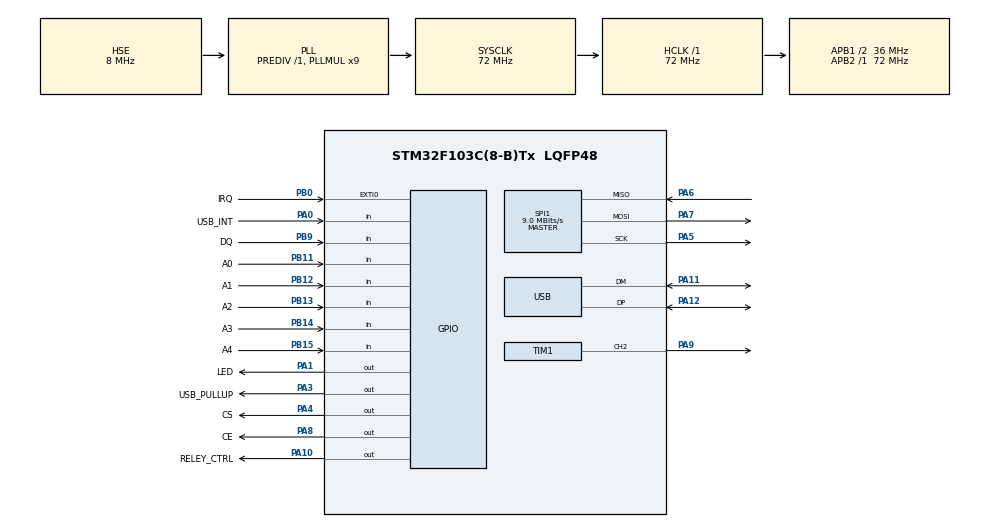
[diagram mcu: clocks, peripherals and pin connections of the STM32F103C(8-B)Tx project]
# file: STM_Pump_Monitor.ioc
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Mcu.Family=STM32F1
Mcu.Name=STM32F103C(8-B)Tx
Mcu.Package=LQFP48
NVIC.EXTI0_IRQn=true\:0\:0\:false\:false\:true\:true\:true
NVIC.PriorityGroup=NVIC_PRIORITYGROUP_4
NVIC.TIM1_CC_IRQn=true\:0\:0\:false\:false\:true\:true\:true
NVIC.TIM1_UP_IRQn=true\:0\:0\:false\:false\:true\:true\:true
NVIC.TIM4_IRQn=true\:0\:0\:false\:false\:true\:true\:true
NVIC.USB_LP_CAN1_RX0_IRQn=true\:0\:0\:false\:false\:true\:false\:true
PA0-WKUP.GPIO_Label=USB_INT
PA0-WKUP.GPIO_PuPd=GPIO_PULLDOWN
PA0-WKUP.Signal=GPIO_Input
PA1.GPIO_Label=LED
PA1.Signal=GPIO_Output
PA10.GPIO_Label=RELEY_CTRL
PA10.Signal=GPIO_Output
PA11.Mode=Device
PA11.Signal=USB_DM
PA12.Mode=Device
PA12.Signal=USB_DP
PA13.Mode=Trace_Asynchronous_SW
PA13.Signal=SYS_JTMS-SWDIO
PA14.Mode=Trace_Asynchronous_SW
PA14.Signal=SYS_JTCK-SWCLK
PA3.GPIO_Label=USB_PULLUP
PA3.Signal=GPIO_Output
PA4.GPIO_Label=CS
PA4.Signal=GPIO_Output
PA5.Mode=Full_Duplex_Master
PA5.Signal=SPI1_SCK
PA6.Mode=Full_Duplex_Master
PA6.Signal=SPI1_MISO
PA7.Mode=Full_Duplex_Master
PA7.Signal=SPI1_MOSI
PA8.GPIO_Label=CE
PA8.Signal=GPIO_Output
PA9.Signal=S_TIM1_CH2
PB0.GPIO_Label=IRQ
PB0.GPIO_ModeDefaultEXTI=GPIO_MODE_IT_FALLING
PB0.GPIO_PuPd=GPIO_PULLUP
PB0.Signal=GPXTI0
PB11.GPIO_Label=A0
PB11.Signal=GPIO_Input
PB12.GPIO_Label=A1
PB12.Signal=GPIO_Input
PB13.GPIO_Label=A2
PB13.Signal=GPIO_Input
PB14.GPIO_Label=A3
PB14.Signal=GPIO_Input
PB15.GPIO_Label=A4
PB15.Signal=GPIO_Input
PB3.Mode=Trace_Asynchronous_SW
PB3.Signal=SYS_JTDO-TRACESWO
PB9.GPIO_Label=DQ
PB9.Signal=GPIO_Input
PD0-OSC_IN.Mode=HSE-External-Oscillator
PD0-OSC_IN.Signal=RCC_OSC_IN
PD1-OSC_OUT.Mode=HSE-External-Oscillator
PD1-OSC_OUT.Signal=RCC_OSC_OUT
ProjectManager.HeapSize=0x800
ProjectManager.StackSize=0x800
ProjectManager.TargetToolchain=MDK-ARM V5
RCC.AHBFreq_Value=72000000
RCC.APB1CLKDivider=RCC_HCLK_DIV2
RCC.APB1Freq_Value=36000000
RCC.APB1TimFreq_Value=72000000
RCC.APB2Freq_Value=72000000
RCC.APB2TimFreq_Value=72000000
RCC.HCLKFreq_Value=72000000
RCC.LSE_VALUE=32000
RCC.PLLMUL=RCC_PLL_MUL9
RCC.PLLSourceVirtual=RCC_PLLSOURCE_HSE
RCC.RTCClockSelection=RCC_RTCCLKSOURCE_LSE
RCC.SYSCLKFreq_VALUE=72000000
RCC.SYSCLKSource=RCC_SYSCLKSOURCE_PLLCLK
RCC.USBFreq_Value=48000000
RCC.USBPrescaler=RCC_USBCLKSOURCE_PLL_DIV1_5
SH.S_TIM1_CH2.0=TIM1_CH2,PWM Generation2 CH2
SPI1.BaudRatePrescaler=SPI_BAUDRATEPRESCALER_8
SPI1.CalculateBaudRate=9.0 MBits/s
SPI1.Direction=SPI_DIRECTION_2LINES
SPI1.Mode=SPI_MODE_MASTER
SPI1.VirtualType=VM_MASTER
TIM1.Channel-PWM\ Generation2\ CH2=TIM_CHANNEL_2
TIM1.ClockDivision=TIM_CLOCKDIVISION_DIV1
TIM1.Period=60000
TIM1.Prescaler=0
TIM1.Pulse-PWM\ Generation2\ CH2=30000
TIM4.Period=1000
TIM4.Prescaler=719
USB_DEVICE.APP_RX_DATA_SIZE=64
USB_DEVICE.APP_TX_DATA_SIZE=64
USB_DEVICE.CLASS_NAME_FS=CDC
USB_DEVICE.PRODUCT_STRING_CDC_FS=Pump Monitor
USB_DEVICE.USBD_MAX_STR_DESC_SIZ=256
USB_DEVICE.VirtualMode=Cdc
USB_DEVICE.VirtualModeFS=Cdc_FS
VP_CRC_VS_CRC.Mode=CRC_Activate
VP_TIM1_VS_ClockSourceINT.Mode=Internal
VP_TIM4_VS_ClockSourceINT.Mode=Internal
VP_USB_DEVICE_VS_USB_DEVICE_CDC_FS.Mode=CDC_FS
board=STM_WTS

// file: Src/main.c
/* USER CODE BEGIN Header */
/**
  ******************************************************************************
  * @file           : main.c
  * @brief          : Main program body
  ******************************************************************************
  * @attention
  *
  * <h2><center>&copy; Copyright (c) 2019 STMicroelectronics.
  * All rights reserved.</center></h2>
  *
  * This software component is licensed by ST under Ultimate Liberty license
  * SLA0044, the "License"; You may not use this file except in compliance with
  * the License. You may obtain a copy of the License at:
  *                             www.st.com/SLA0044
  *
  ******************************************************************************
  */
/* USER CODE END Header */

#include "main.h"
#include "crc.h"
#include "spi.h"
#include "tim.h"
#include "usb_device.h"
#include "gpio.h"

/* USER CODE BEGIN Includes */
#include <stdio.h>

#include "usbd_cdc_if.h"
#include "uart_cmd_parser.h"
#include "nrf24.h"
#include "usbd_cdc_if.h"
#include "wireless_ctrl.h"

/* USER CODE END Includes */

/* USER CODE BEGIN PV */
/* Private variables ---------------------------------------------------------*/
uint8_t nrf_init_state=0;
uint32_t pump_on_timer=0;
uint32_t reset_timer=0;
uint16_t beep_on_timer=0;
_Bool pump_fail_f=0;
_Bool beep_f=0;
_Bool reset_f=0;

#define MAX_PUMP_ON_TIME			6000//60 sec
#define BEEP_ON_TIME					200//2 sec
#define PUMP_SHUTDOWN_TIME		30000//5 min
#define PUMP_RESET_TIME				90000//15 min

/* USER CODE END PV */

void SystemClock_Config(void);
/* USER CODE BEGIN PFP */
/* Private function prototypes -----------------------------------------------*/

/* USER CODE END PFP */

int main(void)
{

  /* MCU Configuration--------------------------------------------------------*/

  /* Reset of all peripherals, Initializes the Flash interface and the Systick. */
  HAL_Init();

  /* Configure the system clock */
  SystemClock_Config();

  /* Initialize all configured peripherals */
  MX_GPIO_Init();
  MX_SPI1_Init();
  MX_TIM1_Init();
  MX_CRC_Init();
  MX_USB_DEVICE_Init();
  MX_TIM4_Init();
  /* USER CODE BEGIN 2 */
	printf("SYS INIT\r\n");

HAL_GPIO_WritePin(RELEY_CTRL_GPIO_Port,RELEY_CTRL_Pin,GPIO_PIN_SET);//RX
HAL_GPIO_WritePin(USB_PULLUP_GPIO_Port, USB_PULLUP_Pin, GPIO_PIN_SET);
HAL_GPIO_WritePin(LED_GPIO_Port,LED_Pin,GPIO_PIN_SET);
HAL_Delay(200);
uartInit();

nrf_init_state = NRF24_Init();
HAL_Delay(200);
//putsUSART("3\r\n>");
HAL_TIM_Base_Start_IT( &htim4);
//HAL_TIM_PWM_Start_IT(&htim1,TIM_CHANNEL_2);
//putsUSART("4\r\n>");

if(nrf_init_state){
	putsUSART("NRF init FAIL\r\n>");
	printf("NRF init FAIL\r\n");
}

uint8_t cdc_init=0;
pump_on_timer=0;
if(nrf_init_state==0){
	printf("NRF CHECK ADDR\r\n");
	nrf_init_state=WL_Check_Addr(0xB0);

}
HAL_GPIO_WritePin(LED_GPIO_Port,LED_Pin,GPIO_PIN_RESET);
//HAL_TIM_PWM_Start(&htim1, TIM_CHANNEL_2);

  /* USER CODE END 2 */

  /* Infinite loop */
  /* USER CODE BEGIN WHILE */

 while (1){
//Blinking

//NRF24 init error	 -
//NRF24 addr busy		 - -
//NRF24 timeout			 - - -

		if (vcp_rx_flag) {
			if(cdc_init){
			CDC_Transmit_FS((uint8_t*)"\r\n>", 3);
			//CDC_Transmit_FS((uint8_t*)"OK\n\r", 4);
			//putsUSART("\r\nOK\n\r");
			parseCommand(vcp_rx_buf);
			}else{
				uartInit();
				cdc_init=1;
			}
			vcp_rx_flag = 0;
		}

		if(nrf_init_state){
			HAL_GPIO_WritePin(LED_GPIO_Port,LED_Pin,GPIO_PIN_RESET);
			HAL_Delay(1000);
			uint8_t i=nrf_init_state;
			while(i--){
				HAL_GPIO_TogglePin(LED_GPIO_Port,LED_Pin);
				HAL_Delay(1000);
				HAL_GPIO_TogglePin(LED_GPIO_Port,LED_Pin);
				HAL_Delay(1000);
      }
			HAL_Delay(2000);

			if(packet_handler_timer>500){// every 5 sec
				packet_handler_timer=0;
				if (nrf_init_state == 1){
					nrf_init_state = NRF24_Init();
					HAL_Delay(200);

				}
				if(nrf_init_state!=1){
						HAL_Delay(200);
						nrf_init_state = WL_Check_Addr(0xB0);
					}
				}
		}else{
			WL_Handler();
		}

		//PUMP MONITOR
		if(pump_on_timer>MAX_PUMP_ON_TIME){
			pump_fail_f=1;
			HAL_GPIO_WritePin(LED_GPIO_Port,LED_Pin,GPIO_PIN_SET);
		}else{
			pump_fail_f=0;
			HAL_GPIO_WritePin(LED_GPIO_Port,LED_Pin,GPIO_PIN_RESET);
		}

		//BEEP CTRL
		if(beep_on_timer>BEEP_ON_TIME){
			beep_f^=1;
			beep_on_timer=0;
			printf("BEEP\r\n");
		}
		if(beep_f){
			HAL_TIM_PWM_Start_IT(&htim1,TIM_CHANNEL_2);
		}else{
			HAL_TIM_PWM_Stop_IT(&htim1,TIM_CHANNEL_2);
		}
		//END BEEP CTRL

		//PUMP SHUTDOWN
		if(pump_on_timer>PUMP_SHUTDOWN_TIME){
			printf("PUMP SHUTDOWN\r\n");
			HAL_GPIO_WritePin(RELEY_CTRL_GPIO_Port,RELEY_CTRL_Pin,GPIO_PIN_RESET);
			HAL_GPIO_WritePin(LED_GPIO_Port,LED_Pin,GPIO_PIN_SET);
			reset_f=1;
			beep_f=0;
		}
		//PUMP RESET
		if(reset_timer>PUMP_RESET_TIME){
			printf("PUMP RESET\r\n");
			reset_timer=0;
			reset_f=0;
			beep_f=0;
		}

	}
    /* USER CODE END WHILE */

}

void SystemClock_Config(void)
{
  RCC_OscInitTypeDef RCC_OscInitStruct = {0};
  RCC_ClkInitTypeDef RCC_ClkInitStruct = {0};
  RCC_PeriphCLKInitTypeDef PeriphClkInit = {0};

  /** Initializes the CPU, AHB and APB busses clocks
  */
  RCC_OscInitStruct.OscillatorType = RCC_OSCILLATORTYPE_HSE;
  RCC_OscInitStruct.HSEState = RCC_HSE_ON;
  RCC_OscInitStruct.HSEPredivValue = RCC_HSE_PREDIV_DIV1;
  RCC_OscInitStruct.HSIState = RCC_HSI_ON;
  RCC_OscInitStruct.PLL.PLLState = RCC_PLL_ON;
  RCC_OscInitStruct.PLL.PLLSource = RCC_PLLSOURCE_HSE;
  RCC_OscInitStruct.PLL.PLLMUL = RCC_PLL_MUL9;
  if (HAL_RCC_OscConfig(&RCC_OscInitStruct) != HAL_OK)
  {
    Error_Handler();
  }
  /** Initializes the CPU, AHB and APB busses clocks
  */
  RCC_ClkInitStruct.ClockType = RCC_CLOCKTYPE_HCLK|RCC_CLOCKTYPE_SYSCLK
                              |RCC_CLOCKTYPE_PCLK1|RCC_CLOCKTYPE_PCLK2;
  RCC_ClkInitStruct.SYSCLKSource = RCC_SYSCLKSOURCE_PLLCLK;
  RCC_ClkInitStruct.AHBCLKDivider = RCC_SYSCLK_DIV1;
  RCC_ClkInitStruct.APB1CLKDivider = RCC_HCLK_DIV2;
  RCC_ClkInitStruct.APB2CLKDivider = RCC_HCLK_DIV1;

  if (HAL_RCC_ClockConfig(&RCC_ClkInitStruct, FLASH_LATENCY_2) != HAL_OK)
  {
    Error_Handler();
  }
  PeriphClkInit.PeriphClockSelection = RCC_PERIPHCLK_USB;
  PeriphClkInit.UsbClockSelection = RCC_USBCLKSOURCE_PLL_DIV1_5;
  if (HAL_RCCEx_PeriphCLKConfig(&PeriphClkInit) != HAL_OK)
  {
    Error_Handler();
  }
}

void Error_Handler(void)
{
  while(1)
  {
  }
}

/************************ (C) COPYRIGHT STMicroelectronics *****END OF FILE****/
